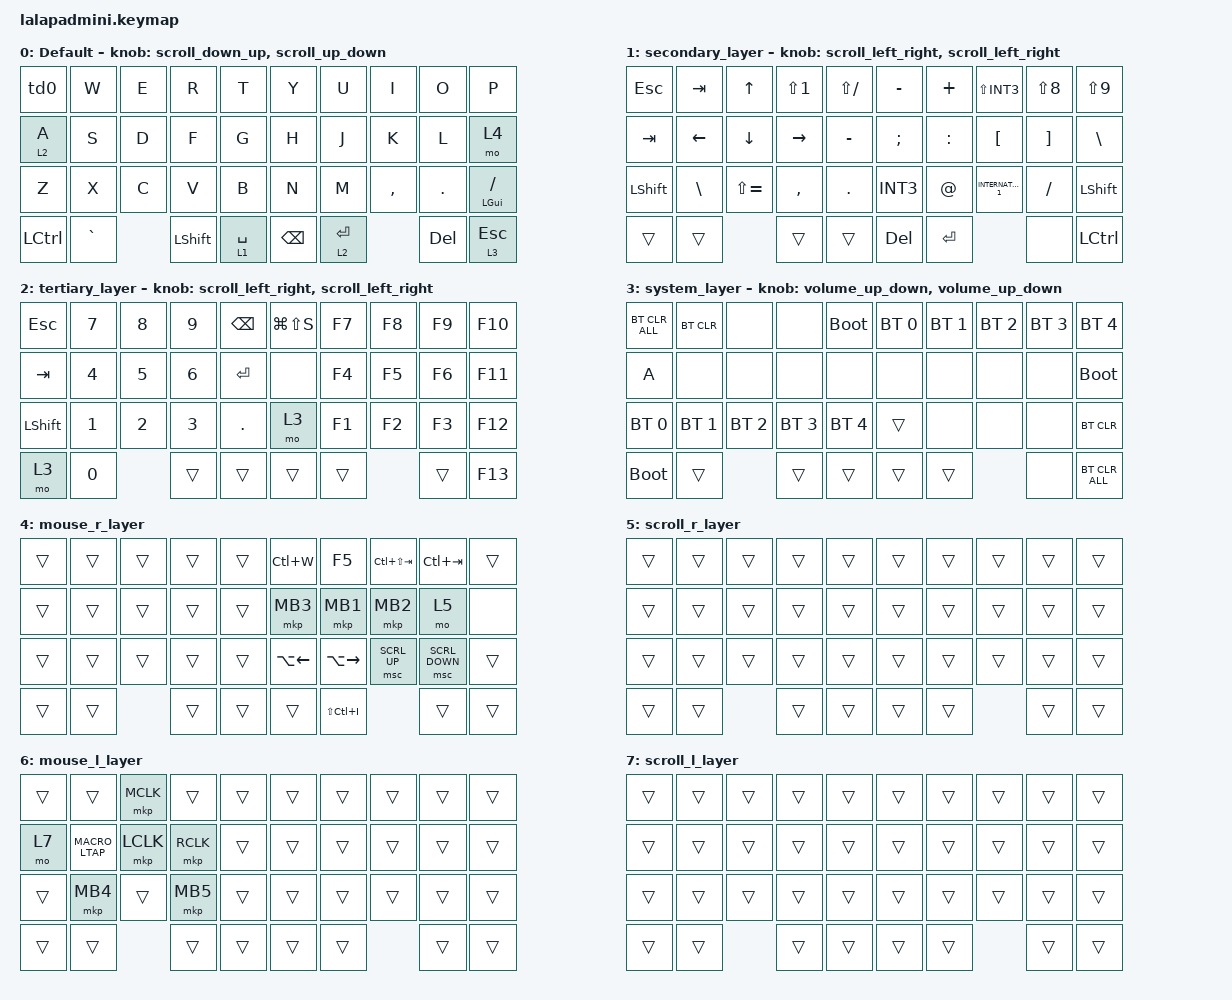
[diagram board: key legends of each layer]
#include <input/processors.dtsi>
#include <behaviors.dtsi>
#include <dt-bindings/zmk/bt.h>
#include <dt-bindings/zmk/keys.h>
#include <dt-bindings/zmk/pointing.h>

#define DEFAULT_LAYER   0
#define SECONDARY_LAYER 1
#define TERTIARY_LAYER  2
#define SYSTEM_LAYER    3
#define MOUSE_R_LAYER   4
#define SCROLL_R_LAYER  5
#define MOUSE_L_LAYER   6
#define SCROLL_L_LAYER  7

// Mouse Scroll Value

#define ZMK_POINTING_DEFAULT_SCRL_VAL 100

// cirque trackpad input&layer control

&glidepoint_listener_R {
    input-processors =
        <&zip_xy_transform (INPUT_TRANSFORM_XY_SWAP | INPUT_TRANSFORM_X_INVERT | INPUT_TRANSFORM_Y_INVERT)>,
        <&zip_xy_scaler 2 1>;

    //<&zip_temp_layer MOUSE_R_LAYER 300>;

    lowspeedmode {
        layers = <SECONDARY_LAYER>;
        input-processors =
            <&zip_xy_transform (INPUT_TRANSFORM_XY_SWAP | INPUT_TRANSFORM_X_INVERT | INPUT_TRANSFORM_Y_INVERT)>,
            <&zip_xy_scaler 3 5>;

        //<&zip_temp_layer MOUSE_R_LAYER 300>;
    };

    scroller {
        layers = <SCROLL_R_LAYER>;
        input-processors =
            <&zip_xy_to_scroll_mapper>,
            <&zip_scroll_transform (INPUT_TRANSFORM_XY_SWAP | INPUT_TRANSFORM_Y_INVERT)>,
            <&zip_scroll_scaler 1 32>;
    };
};

&glidepoint_listener_L {
    input-processors =
        <&zip_xy_transform (INPUT_TRANSFORM_XY_SWAP | INPUT_TRANSFORM_X_INVERT | INPUT_TRANSFORM_Y_INVERT)>,
        <&zip_xy_scaler 2 1>;

    //<&zip_temp_layer MOUSE_L_LAYER 300>;

    lowspeedmode {
        layers = <TERTIARY_LAYER>;
        input-processors =
            <&zip_xy_transform (INPUT_TRANSFORM_XY_SWAP | INPUT_TRANSFORM_X_INVERT | INPUT_TRANSFORM_Y_INVERT)>,
            <&zip_xy_scaler 3 4>;

        //<&zip_temp_layer MOUSE_L_LAYER 300>;
    };

    scroller {
        layers = <SCROLL_L_LAYER>;
        input-processors =
            <&zip_xy_to_scroll_mapper>,
            <&zip_scroll_transform (INPUT_TRANSFORM_XY_SWAP | INPUT_TRANSFORM_Y_INVERT)>,
            <&zip_scroll_scaler 1 32>;
    };
};

&mt { quick-tap-ms = <200>; };

&lt { quick-tap-ms = <200>; };

/ {
    behaviors {
        // Encoder to Mouse Scroll

        scroll_up_down: behavior_sensor_rotate_mouse_wheel_up_down {
            compatible = "zmk,behavior-sensor-rotate";
            #sensor-binding-cells = <0>;
            bindings = <&msc SCRL_UP>, <&msc SCRL_DOWN>;

            tap-ms = <20>;
        };

        scroll_down_up: behavior_sensor_rotate_mouse_wheel_down_up {
            compatible = "zmk,behavior-sensor-rotate";
            #sensor-binding-cells = <0>;
            bindings = <&msc SCRL_DOWN>, <&msc SCRL_UP>;

            tap-ms = <20>;
        };

        scroll_left_right: behavior_sensor_rotate_mouse_wheel_left_right {
            compatible = "zmk,behavior-sensor-rotate";
            #sensor-binding-cells = <0>;
            bindings = <&msc SCRL_LEFT>, <&msc SCRL_RIGHT>;

            tap-ms = <20>;
        };

        scroll_right_left: behavior_sensor_rotate_mouse_wheel_right_left {
            compatible = "zmk,behavior-sensor-rotate";
            #sensor-binding-cells = <0>;
            bindings = <&msc SCRL_RIGHT>, <&msc SCRL_LEFT>;

            tap-ms = <20>;
        };

        volume_up_down: behavior_sensor_rotate_volume_up_down {
            compatible = "zmk,behavior-sensor-rotate";
            #sensor-binding-cells = <0>;
            bindings = <&kp C_VOLUME_UP>, <&kp C_VOLUME_DOWN>;

            tap-ms = <20>;
        };

        mt2: mod_tap2 {
            compatible = "zmk,behavior-hold-tap";
            #binding-cells = <2>;
            flavor = "tap-preferred";
            tapping-term-ms = <200>;
            quick-tap-ms = <200>;
            require-prior-idle-ms = <125>;
            bindings = <&kp>, <&kp>;
        };

        tap_dance_layer_1and2: tap_dance_layer_1and2 {
            compatible = "zmk,behavior-tap-dance";
            label = "td_mo12";
            #binding-cells = <0>;
            bindings = <&mo 1>, <&mo 2>;
        };
    };

    combos {
        compatible = "zmk,combos";

        CONBO_ESC {
            bindings = <&kp ESCAPE>;
            key-positions = <0 1>;
        };

        COMBO_TAB {
            bindings = <&kp TAB>;
            key-positions = <10 11>;
        };

        COMBO_WIN {
            bindings = <&kp LWIN>;
            key-positions = <30 31>;
        };
    };

    macros {
        MACRO_LTAP: MACRO_LTAP {
            compatible = "zmk,behavior-macro";
            #binding-cells = <0>;
            bindings = <&mkp LCLK>;
            label = "MACRO_LTAP";
        };
    };

    behaviors {
        td0: tap_dance_0 {
            compatible = "zmk,behavior-tap-dance";
            #binding-cells = <0>;
            tapping-term-ms = <300>;
            bindings = <&kp Q>, <&kp GRAVE>;
        };
    };

    keymap {
        compatible = "zmk,keymap";

        DEFAULT_LAYER {
            display-name = "Default";
            sensor-bindings = <&scroll_down_up>, <&scroll_up_down>;

            bindings = <
&td0       &kp W      &kp E  &kp R           &kp T        &kp Y          &kp U        &kp I      &kp O       &kp P
&lt 2 A    &kp S      &kp D  &kp F           &kp G        &kp H          &kp J        &kp K      &kp L       &mo 4
&kp Z      &kp X      &kp C  &kp V           &kp B        &kp N          &kp M        &kp COMMA  &kp PERIOD  &mt LEFT_GUI SLASH
&kp LCTRL  &kp GRAVE         &kp LEFT_SHIFT  &lt 1 SPACE  &kp BACKSPACE  &lt 2 ENTER             &kp DELETE  &lt 3 ESCAPE
            >;
        };

        SECONDARY_LAYER {
            display-name = "secondary_layer";
            sensor-bindings = <&scroll_left_right>, <&scroll_left_right>;

            bindings = <
&kp ESC         &kp TAB        &kp UP         &kp LS(NUMBER_1)  &kp LS(SLASH)  &kp MINUS      &kp PLUS   &kp LS(INT3)         &kp LS(NUMBER_8)   &kp LS(NUMBER_9)
&kp TAB         &kp LEFT       &kp DOWN       &kp RIGHT         &kp MINUS      &kp SEMICOLON  &kp COLON  &kp LEFT_BRACKET     &kp RIGHT_BRACKET  &kp BACKSLASH
&kp LEFT_SHIFT  &kp BACKSLASH  &kp LS(EQUAL)  &kp COMMA         &kp PERIOD     &kp INT3       &kp AT     &kp INTERNATIONAL_1  &kp SLASH          &kp LEFT_SHIFT
&trans          &trans                        &trans            &trans         &kp DELETE     &kp ENTER                       &none              &kp LEFT_CONTROL
            >;
        };

        TERTIARY_LAYER {
            display-name = "tertiary_layer";
            bindings = <
&kp ESCAPE      &kp NUMBER_7  &kp NUMBER_8  &kp NUMBER_9  &kp BACKSPACE  &kp LG(LS(S))  &kp F7  &kp F8  &kp F9  &kp F10
&kp TAB         &kp NUMBER_4  &kp NUMBER_5  &kp NUMBER_6  &kp ENTER      &none          &kp F4  &kp F5  &kp F6  &kp F11
&kp LEFT_SHIFT  &kp NUMBER_1  &kp NUMBER_2  &kp NUMBER_3  &kp PERIOD     &mo 3          &kp F1  &kp F2  &kp F3  &kp F12
&mo 3           &kp NUMBER_0                &trans        &trans         &trans         &trans          &trans  &kp F13
            >;

            sensor-bindings = <&scroll_left_right>, <&scroll_left_right>;
        };

        SYSTEM_LAYER {
            display-name = "system_layer";
            sensor-bindings = <&volume_up_down>, <&volume_up_down>;

            bindings = <
&bt BT_CLR_ALL  &bt BT_CLR    &none         &none         &bootloader   &bt BT_SEL 0  &bt BT_SEL 1  &bt BT_SEL 2  &bt BT_SEL 3  &bt BT_SEL 4
&kp A           &none         &none         &none         &none         &none         &none         &none         &none         &bootloader
&bt BT_SEL 0    &bt BT_SEL 1  &bt BT_SEL 2  &bt BT_SEL 3  &bt BT_SEL 4  &trans        &none         &none         &none         &bt BT_CLR
&bootloader     &trans                      &trans        &trans        &trans        &trans                      &none         &bt BT_CLR_ALL
            >;
        };

        MOUSE_R_LAYER {
            display-name = "mouse_r_layer";
            bindings = <
&trans  &trans  &trans  &trans  &trans  &kp LC(W)           &kp F5               &kp LC(LS(TAB))  &kp LC(TAB)     &trans
&trans  &trans  &trans  &trans  &trans  &mkp MB3            &mkp MB1             &mkp MB2         &mo 5           &none
&trans  &trans  &trans  &trans  &trans  &kp LA(LEFT_ARROW)  &kp LA(RIGHT_ARROW)  &msc SCRL_UP     &msc SCRL_DOWN  &trans
&trans  &trans          &trans  &trans  &trans              &kp LS(LC(I))                         &trans          &trans
            >;
        };

        SCROLL_R_LAYER {
            display-name = "scroll_r_layer";
            bindings = <
&trans  &trans  &trans  &trans  &trans  &trans  &trans  &trans  &trans  &trans
&trans  &trans  &trans  &trans  &trans  &trans  &trans  &trans  &trans  &trans
&trans  &trans  &trans  &trans  &trans  &trans  &trans  &trans  &trans  &trans
&trans  &trans          &trans  &trans  &trans  &trans          &trans  &trans
            >;
        };

        MOUSE_L_LAYER {
            display-name = "mouse_l_layer";
            bindings = <
&trans  &trans       &mkp MCLK  &trans     &trans  &trans  &trans  &trans  &trans  &trans
&mo 7   &MACRO_LTAP  &mkp LCLK  &mkp RCLK  &trans  &trans  &trans  &trans  &trans  &trans
&trans  &mkp MB4     &trans     &mkp MB5   &trans  &trans  &trans  &trans  &trans  &trans
&trans  &trans                  &trans     &trans  &trans  &trans          &trans  &trans
            >;
        };

        SCROLL_L_LAYER {
            display-name = "scroll_l_layer";
            bindings = <
&trans  &trans  &trans  &trans  &trans  &trans  &trans  &trans  &trans  &trans
&trans  &trans  &trans  &trans  &trans  &trans  &trans  &trans  &trans  &trans
&trans  &trans  &trans  &trans  &trans  &trans  &trans  &trans  &trans  &trans
&trans  &trans          &trans  &trans  &trans  &trans          &trans  &trans
            >;
        };
    };

    conditional_layers { compatible = "zmk,conditional-layers"; };
};
